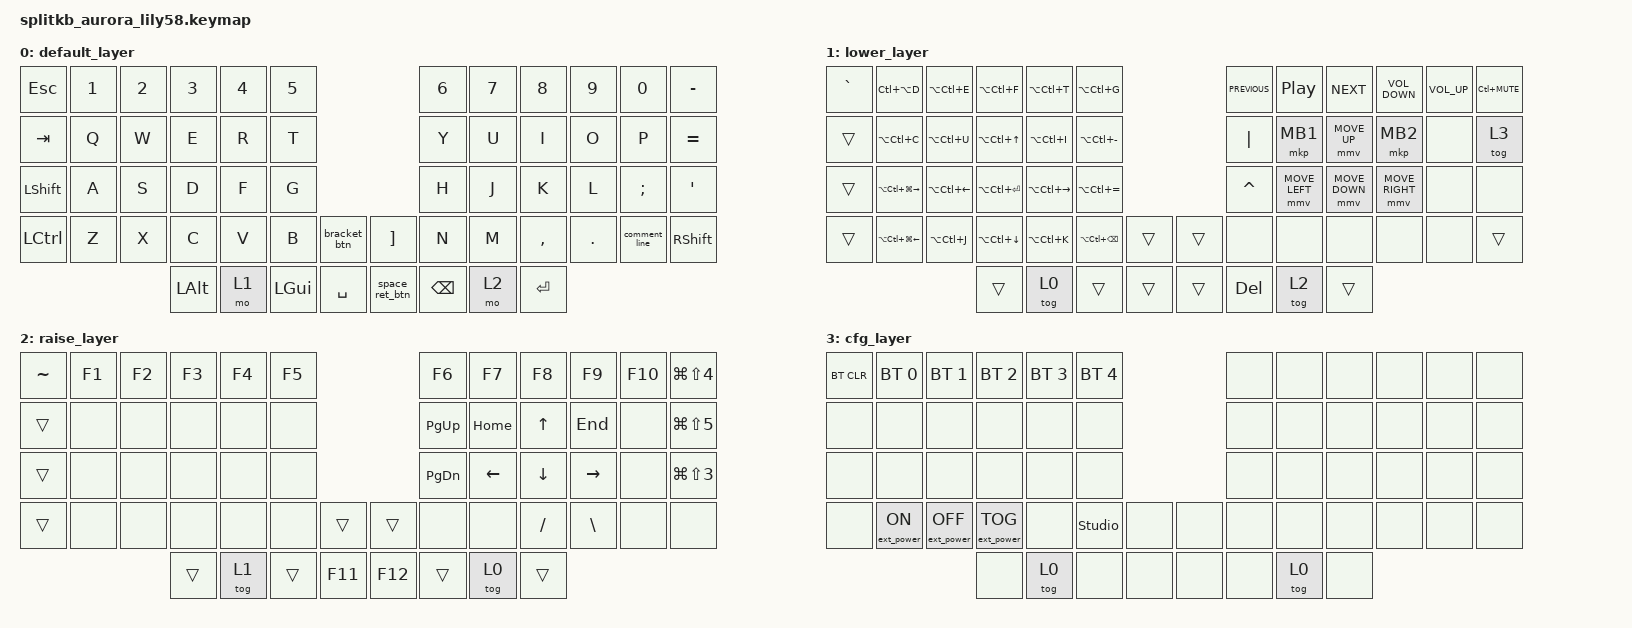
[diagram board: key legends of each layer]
/*
 * Copyright (c) 2022 The ZMK Contributors
 *
 * SPDX-License-Identifier: MIT
 */

#define ZMK_BEHAVIORS_OMIT_KT

#include <behaviors.dtsi>
#include <dt-bindings/zmk/bt.h>
#include <dt-bindings/zmk/ext_power.h>
#include <dt-bindings/zmk/keys.h>
#include <dt-bindings/zmk/pointing.h>
#include <dt-bindings/zmk/pointing.h>

/ {
    behaviors {
        bindings = <&studio_unlock>;

        bracket_btn: bracket_btn {
            compatible = "zmk,behavior-tap-dance";
            label = "BRACKET_BTN";
            #binding-cells = <0>;
            bindings = <&kp LEFT_BRACKET>, <&kp RIGHT_BRACKET>;
        };

        space_ret_btn: space_ret_btn {
            compatible = "zmk,behavior-tap-dance";
            label = "SPACE_RET_BTN";
            #binding-cells = <0>;
            bindings = <&kp SPACE>, <&kp RET>;
        };

        grv_tild_btn: grv_tild_btn {
            compatible = "zmk,behavior-tap-dance";
            label = "GRV_TILD_BTN";
            #binding-cells = <0>;
            bindings = <&kp GRAVE>, <&kp TILDE>;
        };

        comment_line: comment_line {
            compatible = "zmk,behavior-tap-dance";
            label = "COMMENT_LINE";
            #binding-cells = <0>;
            bindings = <&kp SLASH>, <&kp LG(SLASH)>;
        };
    };

    keymap {
        compatible = "zmk,keymap";

        // GRAVE

        default_layer {
            bindings = <
&kp ESC    &kp N1  &kp N2  &kp N3    &kp N4  &kp N5                                    &kp N6    &kp N7  &kp N8     &kp N9   &kp N0         &kp MINUS
&kp TAB    &kp Q   &kp W   &kp E     &kp R   &kp T                                     &kp Y     &kp U   &kp I      &kp O    &kp P          &kp EQUAL
&kp LSHFT  &kp A   &kp S   &kp D     &kp F   &kp G                                     &kp H     &kp J   &kp K      &kp L    &kp SEMI       &kp SQT
&kp LCTRL  &kp Z   &kp X   &kp C     &kp V   &kp B     &bracket_btn    &kp RBKT        &kp N     &kp M   &kp COMMA  &kp DOT  &comment_line  &kp RSHFT
                           &kp LALT  &mo 1   &kp LGUI  &kp SPACE       &space_ret_btn  &kp BSPC  &mo 2   &kp RET
            >;
        };

        lower_layer {
            bindings = <
&kp GRAVE  &kp LC(LA(D))               &kp LA(LC(E))     &kp LA(LC(F))           &kp LA(LC(T))      &kp LA(LC(G))                            &kp C_PREVIOUS  &kp C_PLAY_PAUSE  &kp C_NEXT      &kp C_VOLUME_DOWN  &kp C_VOLUME_UP  &kp LC(K_MUTE)
&trans     &kp LA(LC(C))               &kp LA(LC(U))     &kp LA(LC(UP_ARROW))    &kp LA(LC(I))      &kp LA(LC(MINUS))                        &kp PIPE        &mkp MB1          &mmv MOVE_UP    &mkp MB2           &none            &tog 3
&trans     &kp LA(LC(LG(RIGHT)))       &kp LA(LC(LEFT))  &kp LA(LC(ENTER))       &kp LA(LC(RIGHT))  &kp LA(LC(EQUAL))                        &kp CARET       &mmv MOVE_LEFT    &mmv MOVE_DOWN  &mmv MOVE_RIGHT    &none            &none
&trans     &kp LA(LC(LG(LEFT_ARROW)))  &kp LA(LC(J))     &kp LA(LC(DOWN_ARROW))  &kp LA(LC(K))      &kp LA(LC(BACKSPACE))  &trans    &trans  &none           &none             &none           &none              &none            &trans
                                                         &trans                  &tog 0             &trans                 &trans    &trans  &kp DELETE      &tog 2            &trans
            >;
        };

        raise_layer {
            bindings = <
&kp TILDE  &kp F1  &kp F2  &kp F3  &kp F4  &kp F5                      &kp F6     &kp F7    &kp F8        &kp F9         &kp F10  &kp LG(LS(NUMBER_4))
&trans     &none   &none   &none   &none   &none                       &kp PG_UP  &kp HOME  &kp UP_ARROW  &kp END        &none    &kp LG(LS(N5))
&trans     &none   &none   &none   &none   &none                       &kp PG_DN  &kp LEFT  &kp DOWN      &kp RIGHT      &none    &kp LG(LS(NUMBER_3))
&trans     &none   &none   &none   &none   &none   &trans     &trans   &none      &none     &kp SLASH     &kp BACKSLASH  &none    &none
                           &trans  &tog 1  &trans  &kp F11    &kp F12  &trans     &tog 0    &trans
            >;
        };

        cfg_layer {
            bindings = <
&bt BT_CLR  &bt BT_SEL 0      &bt BT_SEL 1       &bt BT_SEL 2       &bt BT_SEL 3  &bt BT_SEL 4                    &none  &none   &none  &none  &none  &none
&none       &none             &none              &none              &none         &none                           &none  &none   &none  &none  &none  &none
&none       &none             &none              &none              &none         &none                           &none  &none   &none  &none  &none  &none
&none       &ext_power EP_ON  &ext_power EP_OFF  &ext_power EP_TOG  &none         &studio_unlock  &none    &none  &none  &none   &none  &none  &none  &none
                                                 &none              &tog 0        &none           &none    &none  &none  &tog 0  &none
            >;
        };
    };
};
